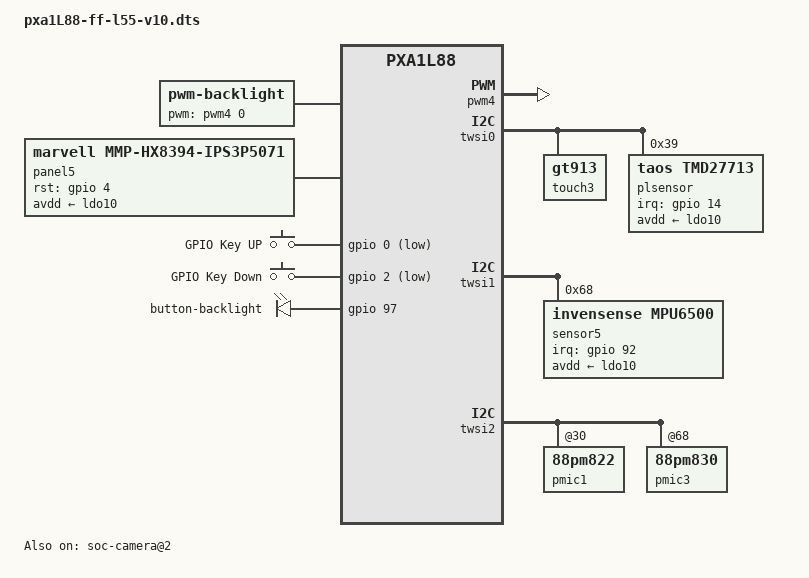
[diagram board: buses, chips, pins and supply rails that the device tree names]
/dts-v1/;
#include "pxa1L88-dkb.dtsi"
/ {
	compatible = "mrvl,pxa1L88-ff-l55-v10", "mrvl,pxa1L88";
	soc {
		axi@d4200000 {	/* AXI */
			usbphy: usbphy@d4207000 {
				status = "okay";
			};

			/* SD card */
			sdh1: sdh@d4280000 {
				cd-gpios = <>;
			};
		};

		apb@d4000000 {
			pwm1: pwm@d401a000 {
				compatible = "marvell,pxa25x-pwm";
				reg = <0xd401a000 0x10>;
				#pwm-cells = <2>;
				status = "disabled";
			};

			pwm2: pwm@d401a400 {
				compatible = "marvell,pxa25x-pwm";
				reg = <0xd401a400 0x10>;
				#pwm-cells = <2>;
				status = "disabled";
			};

			pwm3: pwm@d401a800 {
				compatible = "marvell,pxa25x-pwm";
				reg = <0xd401a800 0x10>;
				#pwm-cells = <2>;
				status = "disabled";
			};

			pwm4: pwm@d401ac00 {
				compatible = "marvell,pxa25x-pwm";
				reg = <0xd401ac00 0x10>;
				#pwm-cells = <2>;
				status = "okay";
			};

			keypad: keypad@d4012000 {
				status = "disabled";
			};

			keyreset {
				status = "disabled";
			};

			gpio: gpio@d4019000 {
				status = "okay";
				/*
				 * In theorical, some gpios could be routed to
				 * multiple pins. So define the gpio-ranges in
				 * board file, not silicon file.
				 */
				gcb0: gpio@d4019000 {
					/* gpio offset, pin offset, nr pins */
					gpio-ranges = <&pmx 0 55 32>;
				};
				gcb1: gpio@d4019004 {
					gpio-ranges = <&pmx 0 87 23>;
				};
				gcb2: gpio@d4019008 {
					gpio-ranges = <&pmx 3 110 29>;
				};
				gcb3: gpio@d4019100 {
					gpio-ranges = <&pmx 0 139 3  &pmx 28 52 1>;
				};/* GPIO96 ~ GPIO98, GPIO124 */
			};
			pmx: pinmux@d401e000 {
				/* pin base, nr pins & gpio function */
				pinctrl-single,gpio-range = <
					/*
					 * GPIO number is hardcoded for range at here.
					 * In gpio chip, GPIO number is not hardcoded for range.
					 * Since one gpio pin may be routed to multiple pins,
					 * define these gpio range in pxa910-dkb.dts not pxa910.dtsi.
					 */
					&range 55 55 0	/* GPIO0 ~ GPIO54 */
					&range 110 32 0 /* GPIO67 ~ GPIO98 */
					&range 52 1 0	/* GPIO124 */
				>;

				/* MFP_LPM_FLOAT */
				mfp_pins_group_0: mfp_pins_group_0 {
					pinctrl-single,pins = <
						DF_IO8 AF4
						DF_IO9 AF0
						DF_IO10 AF0
						DF_IO11 AF0
						DF_IO12 AF0
						DF_IO13 AF0
						DF_IO14 AF0
						DF_IO15 AF0
						DF_WEn AF1
						DF_REn AF1
						DF_ALE_SM_WEn AF1
						DF_RDY0 AF1
					>;
					MFP_LPM_FLOAT;
				};

				/* MFP_PULL_LOW && MFP_LPM_PULL_FLOAT */
				mfp_pins_group_1: mfp_pins_group_1 {
					pinctrl-single,pins = <
						DF_nCS0_SM_nCS2 AF0
						DF_nCS1_SM_nCS3 AF1
						SM_nCS1 AF1
						GPIO15 AF0
					>;
					DS_MEDIUM;PULL_DOWN;EDGE_NONE;LPM_FLOAT;
				};

				/* MFP_PULL_LOW */
				mfp_pins_group_3: mfp_pins_group_3 {
					pinctrl-single,pins = <
						GPIO70 AF0
						GPIO97 AF0
						GPIO43 AF0
						GPIO44 AF0
						GPIO90 AF0
						GPIO92 AF0
						GPIO98 AF0
					>;
					MFP_PULL_DOWN;
				};

				/* MFP_PULL_FLOAT */
				mfp_pins_group_5: mfp_pins_group_5 {
					pinctrl-single,pins = <
						GPIO4 AF0
						GPIO36 AF0
						GPIO96 AF0
						GPIO67 AF0
						GPIO68 AF0
						GPIO69 AF0
						GPIO80 AF0
					>;
					MFP_PULL_FLOAT;
				};

				/* MFP_PULL_FLOAT && MFP_LPM_PULL_FLOAT */
				mfp_pins_group_6: mfp_pins_group_6 {
					pinctrl-single,pins = <
						GPIO32 AF0
						GPIO12 AF0
						SM_ADVMUX AF1
					>;
					DS_MEDIUM;PULL_FLOAT;EDGE_NONE;LPM_FLOAT;
				};

				/* MFP_DEFAULT */
				mfp_pins_group_7: mfp_pins_group_7 {
					pinctrl-single,pins = <
						GPIO124 AF0
						GPIO1 AF0
						GPIO3 AF0
						GPIO5 AF0
						GPIO6 AF0
						GPIO10 AF0
						GPIO11 AF0
						GPIO12 AF0
						GPIO13 AF0
						GPIO19 AF0
						GPIO20 AF0
						GPIO30 AF0
						GPIO31 AF0
						GPIO32 AF0
						GPIO33 AF0
						GPIO34 AF0
						GPIO35 AF0
						GPIO49 AF0
						GPIO50 AF0
						GPIO51 AF1
						GPIO52 AF1
						GPIO73 AF0
						GPIO74 AF0
						GPIO75 AF0
						GPIO76 AF0
						GPIO77 AF1
						GPIO78 AF0
						GPIO79 AF0
					>;
					MFP_DEFAULT;
				};

				sensor_pmx_ctrl: sensor_pmx_ctrl {
						pinctrl-single,pins = <
							GPIO71 AF0
							GPIO72 AF0
						>;
						DS_MEDIUM;PULL_UP;EDGE_NONE;LPM_NONE;
				};

				touch_pins: touch_pins {
					pinctrl-single,pins = <
						GPIO16 AF0
						GPIO17 AF0
					>;
					LPM_NONE;
				};
			};

			twsi0: i2c@d4011000 {
				touch1: s3202@720p {
					status = "disabled";
				};
				touch2: s3202@1080p {
					status = "disabled";
				};
				touch3: gt913@720p {
				/* cfg-group start from 0, so the value 1 means the second group */
					goodix,cfg-group = <1>;
					status = "ok";
				};
				touch4: gt913@1080p {
					status = "disabled";
				};
				plsensor: tsl2x7x@39 {
					compatible = "taos,tmd27713";
					reg = <0x39>;
					interrupt-parent = <&gpio>;
					interrupts = <14 0x1>;
					irq-gpios = <&gpio 14 0>;
					avdd-supply = <&ldo10>;
				};
			};

			twsi1: i2c@d4010800 {
				sensor1: isl29043@44 {
					status = "disabled";
				};
				sensor2: bmp18x@77 {
					status = "disabled";
				};
				sensor3: mpu9250@69 {
					status = "disabled";
				};
				sensor4: apds9930@39 {
					status = "disabled";
				};
				sensor5: mpu6500@68 {
					compatible = "invensense,mpu6500";
					reg = <0x68>;
					interrupt-parent = <&gpio>;
					interrupts = <92 0x2>;
					inven,irq-gpios = <&gpio 92 0x00>;
					avdd-supply = <&ldo10>;
					axis_map_x = <1>;
					negate_x = <1>;
					axis_map_y = <0>;
					negate_y = <1>;
					axis_map_z = <2>;
					negate_z = <1>;
					inven,secondary_axis_map_x = <0>;
					inven,secondary_negate_x = <0>;
					inven,secondary_axis_map_y = <1>;
					inven,secondary_negate_y = <1>;
					inven,secondary_axis_map_z = <2>;
					inven,secondary_negate_z = <1>;
					inven,secondary_type = "compass";
					inven,secondary_name = "ak09911";
					inven,secondary_reg = <0xc>;
					status = "ok";
				};
			};

			twsi2: i2c@d4037000 {
				pmic1: 88pm822@30 {

					/* set buck5 as 3.5V to disable APT, which is used for RF calibration*/
					marvell,pmic-board-cfg = <
						PM822_POWER_PAGE
						PM822_BUCK5
						0xff
						0x76

						PM822_POWER_PAGE
						PM822_BUCK5_1
						0xff
						0x72

						PM822_POWER_PAGE
						PM822_BUCK5_2
						0xff
						0x72

						PM822_POWER_PAGE
						PM822_BUCK5_3
						0xff
						0x72

						PM822_POWER_PAGE
						PM822_BUCK5_SLP
						0x7f
						0x72
					>;

					usb: usb {
						compatible = "marvell,88pm80x-usb";
						vbus-gpio = <2>;
						id-gpadc = <0xff>;
					};

					headset {
						marvell,headset-flag = <0>;
					};
				};
				pmic3: 88pm830@68 {
					/*
					 * charger, batttery parameters are based on ZTE Li3825T43P3h846739 battery
					 * Part Name: Lithium-ion Battery
					 * Pack Parts No.: ALE455557SA
					 * Pack Standard: 2500mAh(0.2C)
					 * Cell Model: FHP376679ART
					 */
					charger {
						fastchg-voltage = <4350 4350 4150>; /* mV for STR, LTR, HTR */
						fastchg-current = <1500 1000 1500>; /* mA for STR, LTR, HTR */
						over-voltage = <4600>; /* mV */
						no-thermal-support = <1>;
						thermal-threshold = <0x50 0x34 0x14 0xe>;
					};

					battery {
						bat-capacity = <2500>; /* mAh */
						ocv-table = <
							3306 3408 3485 3547 3592 3627 3654 3671 3683 3689
							3693 3696 3698 3701 3711 3722 3730 3738 3746 3751
							3755 3759 3763 3767 3771 3773 3776 3777 3779 3781
							3782 3783 3784 3786 3788 3790 3792 3794 3797 3799
							3802 3805 3808 3812 3816 3819 3823 3828 3832 3836
							3841 3846 3851 3857 3863 3870 3878 3888 3899 3911
							3923 3934 3944 3953 3961 3969 3977 3985 3993 4001
							4010 4019 4028 4037 4047 4056 4066 4076 4085 4095
							4105 4116 4126 4137 4147 4158 4169 4180 4191 4202
							4213 4224 4236 4247 4259 4271 4283 4295 4308 4321
						>;
						temp-range-num = <2>;
						switch-thr = <15 64>; /* C */
						gp0-bias-curr = <16 56 56>; /* uA */
						/* choose -20C, 0C, 10C, 45C, 50C, 60C as threshold */
						r-tbat-thr = <68236 27218 17925 4916 4160 3014>; /* ohm */
						ntc-table-size = <88>;
						/* -24C, -23C, ..., 62C, 63C */
						ntc-table = <
							83242 79166 75315 71676 68236 64990 61919 59011
							56257 53649 51177 48834 46613 44505 42506 40599
							38790 37072 35441 33892 32419 31020 29689 28423
							27218 26076 24987 23950 22962 22021 21123 20266
							19449 18669 17925 17213 16534 15885 15265 14673
							14107 13566 13048 12554 12080 11628 11194 10779
							10381 10000 9634  9283  8947  8624  8314  8018
							7733  7460  7199  6947  6706  6475  6252  6039
							5833  5635  5445  5262  5086  4916  4753  4597
							4446  4300  4160  4026  3896  3771  3651  3535
							3423  3315  3211  3111  3014  2922  2833  2748

						>;
					};
				};
			};

			backlight: pwm_bl {
				compatible = "pwm-backlight";
				pwms = <&pwm4 0 50000>;
				brightness-levels = <0 2 4 6 8 10 12 14 16 18 20 22 24 26 28 30 32 34 36 38 40 42 44 46 48 50 52 54 56 58 60 62 64 66 68 70 72 74 76 78 80 82 84 86 88 90 92 94 96 98 100>;
				default-brightness-level = <10>;
			};
		};
		soc-isp {
			couple-raw-sensor-support = <1>;
			status = "okay";
			backsensor {
				#address-cells = <1>;
				#size-cells = <0>;
				compatible = "marvell,backsensor";
				status = "okay";
				OV8825: sensor@3 {
					compatible = "marvell,ov8825","marvell,sensor";
					sensor-name = "ov8825";
					reg = <0x36>;
					adapter = <1>;
					type = <1>;
					interface = <0>;
					af_2v8-supply = <&ldo10>;
					avdd_2v8-supply = <&ldo11>;
					dovdd_1v8-supply = <&voutsw>;
					dvdd_1v2-supply = <&ldo12>;
					status = "okay";
					sensor_power {
						pinctrl-names = "default";
						pwdn-gpios = <&gpio 80 0>;
						reset-gpios = <&gpio 67 0>;
						pwdn-validvalue = <0>;
						reset-validvalue = <0>;
					};
					sensor_id {
						pid_addr = <0x300a 0x300b>;
						pid_value = <0x88 0x25>;
					};
					torch_flash {
						flash-gpios = <&gpio 18 0>;
						torcht-gpios = <&gpio 12 0>;
					};
				};
			};
		};

		soc-camera@0 {
			status = "disabled";
		};

		soc-camera@1 {
			status = "disabled";
		};
		soc-camera@2 {
			compatible = "soc-camera-pdrv";
			reg = <0x2 0x0>;
			status = "okay";
		};
	};

	panel1: lg4591 {
		status = "disabled";
	};

	panel2: r63311 {
		status = "disabled";
	};

	panel3: bp070wx1 {
		status = "disabled";
	};

	panel4: hx8394 {
		status = "disabled";
	};

	panel5: hx8394-ips3p5071 {
		compatible = "marvell,mmp-hx8394-ips3p5071";
		marvell,path-name = "mmp_pnpath";
		panel_esd = <0>;
		rst_gpio = <&gpio 4 0>;
		avdd-supply = <&ldo10>;
		status = "okay";
	};

	keyboard: gpio_keys {
		compatible = "gpio-keys";
		#address-cells = <1>;
		#size-cells = <0>;
		autorepeat;
		button@20 {
				label = "GPIO Key UP";
				linux,code = <115>;
				gpios = <&gpio 0 1>;
			};
		button@21 {
				label = "GPIO Key Down";
				linux,code = <114>;
				gpios = <&gpio 2 1>;
			};
	};

	gps: mmp-gps {
		/*
		 * we don't need ldo-en-gpio in L55 FF,
		 * but it was defined in dtsi that we included,
		 * so we override it with null value.
		 */
		ldo-en-gpio = <>;
		vgps-supply = <&ldo9>;
	};

	led-rgb {
		status = "disabled";
	};

	leds-gpio {
		compatible = "gpio-leds";
		button_led {
			label = "button-backlight";
			gpios = <&gpio 97 0>;
		};
	};
};
